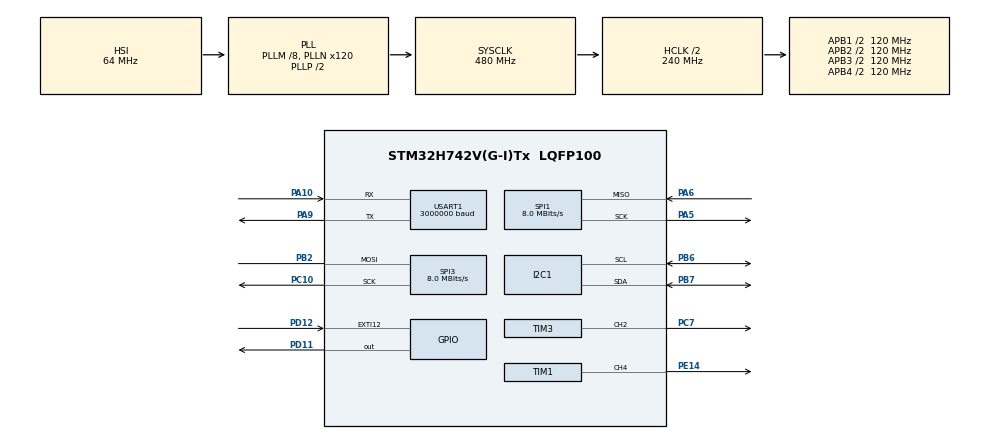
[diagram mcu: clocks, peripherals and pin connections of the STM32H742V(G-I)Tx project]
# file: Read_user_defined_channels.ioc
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CORTEX_M7.default_mode_Activation=1
Dma.I2C1_RX.3.Direction=DMA_PERIPH_TO_MEMORY
Dma.I2C1_RX.3.EventEnable=DISABLE
Dma.I2C1_RX.3.FIFOMode=DMA_FIFOMODE_DISABLE
Dma.I2C1_RX.3.Instance=DMA1_Stream3
Dma.I2C1_RX.3.MemDataAlignment=DMA_MDATAALIGN_BYTE
Dma.I2C1_RX.3.MemInc=DMA_MINC_ENABLE
Dma.I2C1_RX.3.Mode=DMA_NORMAL
Dma.I2C1_RX.3.PeriphDataAlignment=DMA_PDATAALIGN_BYTE
Dma.I2C1_RX.3.PeriphInc=DMA_PINC_DISABLE
Dma.I2C1_RX.3.Polarity=HAL_DMAMUX_REQ_GEN_RISING
Dma.I2C1_RX.3.Priority=DMA_PRIORITY_LOW
Dma.I2C1_RX.3.RequestNumber=1
Dma.I2C1_RX.3.SignalID=NONE
Dma.I2C1_RX.3.SyncEnable=DISABLE
Dma.I2C1_RX.3.SyncPolarity=HAL_DMAMUX_SYNC_NO_EVENT
Dma.I2C1_RX.3.SyncRequestNumber=1
Dma.I2C1_RX.3.SyncSignalID=NONE
Dma.Request0=SPI1_RX
Dma.Request1=USART1_TX
Dma.Request2=USART1_RX
Dma.Request3=I2C1_RX
Dma.SPI1_RX.0.Direction=DMA_PERIPH_TO_MEMORY
Dma.SPI1_RX.0.EventEnable=DISABLE
Dma.SPI1_RX.0.FIFOMode=DMA_FIFOMODE_DISABLE
Dma.SPI1_RX.0.Instance=DMA1_Stream0
Dma.SPI1_RX.0.MemDataAlignment=DMA_MDATAALIGN_HALFWORD
Dma.SPI1_RX.0.MemInc=DMA_MINC_ENABLE
Dma.SPI1_RX.0.Mode=DMA_NORMAL
Dma.SPI1_RX.0.PeriphDataAlignment=DMA_PDATAALIGN_HALFWORD
Dma.SPI1_RX.0.PeriphInc=DMA_PINC_DISABLE
Dma.SPI1_RX.0.Polarity=HAL_DMAMUX_REQ_GEN_RISING
Dma.SPI1_RX.0.Priority=DMA_PRIORITY_HIGH
Dma.SPI1_RX.0.RequestNumber=1
Dma.SPI1_RX.0.SignalID=NONE
Dma.SPI1_RX.0.SyncEnable=DISABLE
Dma.SPI1_RX.0.SyncPolarity=HAL_DMAMUX_SYNC_NO_EVENT
Dma.SPI1_RX.0.SyncRequestNumber=1
Dma.SPI1_RX.0.SyncSignalID=NONE
Dma.USART1_RX.2.Direction=DMA_PERIPH_TO_MEMORY
Dma.USART1_RX.2.EventEnable=DISABLE
Dma.USART1_RX.2.FIFOMode=DMA_FIFOMODE_DISABLE
Dma.USART1_RX.2.Instance=DMA1_Stream2
Dma.USART1_RX.2.MemDataAlignment=DMA_MDATAALIGN_BYTE
Dma.USART1_RX.2.MemInc=DMA_MINC_ENABLE
Dma.USART1_RX.2.Mode=DMA_CIRCULAR
Dma.USART1_RX.2.PeriphDataAlignment=DMA_PDATAALIGN_BYTE
Dma.USART1_RX.2.PeriphInc=DMA_PINC_DISABLE
Dma.USART1_RX.2.Polarity=HAL_DMAMUX_REQ_GEN_RISING
Dma.USART1_RX.2.Priority=DMA_PRIORITY_LOW
Dma.USART1_RX.2.RequestNumber=1
Dma.USART1_RX.2.SignalID=NONE
Dma.USART1_RX.2.SyncEnable=DISABLE
Dma.USART1_RX.2.SyncPolarity=HAL_DMAMUX_SYNC_NO_EVENT
Dma.USART1_RX.2.SyncRequestNumber=1
Dma.USART1_RX.2.SyncSignalID=NONE
Dma.USART1_TX.1.Direction=DMA_MEMORY_TO_PERIPH
Dma.USART1_TX.1.EventEnable=DISABLE
Dma.USART1_TX.1.FIFOMode=DMA_FIFOMODE_DISABLE
Dma.USART1_TX.1.Instance=DMA1_Stream1
Dma.USART1_TX.1.MemDataAlignment=DMA_MDATAALIGN_BYTE
Dma.USART1_TX.1.MemInc=DMA_MINC_ENABLE
Dma.USART1_TX.1.Mode=DMA_NORMAL
Dma.USART1_TX.1.PeriphDataAlignment=DMA_PDATAALIGN_BYTE
Dma.USART1_TX.1.PeriphInc=DMA_PINC_DISABLE
Dma.USART1_TX.1.Polarity=HAL_DMAMUX_REQ_GEN_RISING
Dma.USART1_TX.1.Priority=DMA_PRIORITY_LOW
Dma.USART1_TX.1.RequestNumber=1
Dma.USART1_TX.1.SignalID=NONE
Dma.USART1_TX.1.SyncEnable=DISABLE
Dma.USART1_TX.1.SyncPolarity=HAL_DMAMUX_SYNC_NO_EVENT
Dma.USART1_TX.1.SyncRequestNumber=1
Dma.USART1_TX.1.SyncSignalID=NONE
I2C1.Timing=0x307075B1
Mcu.Family=STM32H7
Mcu.Name=STM32H742V(G-I)Tx
Mcu.Package=LQFP100
NVIC.DMA1_Stream0_IRQn=true\:0\:0\:false\:false\:true\:false\:true\:true
NVIC.DMA1_Stream1_IRQn=true\:0\:0\:false\:false\:true\:false\:true\:true
NVIC.DMA1_Stream2_IRQn=true\:0\:0\:false\:false\:true\:false\:true\:true
NVIC.DMA1_Stream3_IRQn=true\:0\:0\:false\:false\:true\:false\:true\:true
NVIC.EXTI15_10_IRQn=true\:0\:0\:false\:false\:true\:true\:true\:true
NVIC.I2C1_ER_IRQn=true\:0\:0\:false\:false\:true\:true\:true\:true
NVIC.I2C1_EV_IRQn=true\:0\:0\:false\:false\:true\:true\:true\:true
NVIC.PriorityGroup=NVIC_PRIORITYGROUP_4
NVIC.SPI1_IRQn=true\:0\:0\:false\:false\:true\:false\:true\:true
NVIC.TIM2_IRQn=true\:0\:0\:false\:false\:true\:true\:true\:true
NVIC.TIM6_DAC_IRQn=true\:0\:0\:false\:false\:true\:true\:true\:true
NVIC.USART1_IRQn=true\:0\:0\:false\:false\:true\:true\:true\:true
PA10.Mode=Asynchronous
PA10.Signal=USART1_RX
PA5.GPIO_Speed=GPIO_SPEED_FREQ_VERY_HIGH
PA5.Mode=RX_Only_Simplex_Unidirect_Master
PA5.Signal=SPI1_SCK
PA6.GPIO_Speed=GPIO_SPEED_FREQ_VERY_HIGH
PA6.Mode=RX_Only_Simplex_Unidirect_Master
PA6.Signal=SPI1_MISO
PA9.Mode=Asynchronous
PA9.Signal=USART1_TX
PB2.GPIO_Speed=GPIO_SPEED_FREQ_VERY_HIGH
PB2.Mode=Simplex_Bidirectional_Master
PB2.Signal=SPI3_MOSI
PB6.GPIO_Pu=GPIO_PULLUP
PB6.GPIO_Speed=GPIO_SPEED_FREQ_HIGH
PB6.Mode=I2C
PB6.Signal=I2C1_SCL
PB7.GPIO_Pu=GPIO_PULLUP
PB7.GPIO_Speed=GPIO_SPEED_FREQ_HIGH
PB7.Mode=I2C
PB7.Signal=I2C1_SDA
PC10.Mode=Simplex_Bidirectional_Master
PC10.Signal=SPI3_SCK
PC7.Signal=S_TIM3_CH2
PD11.PinState=GPIO_PIN_SET
PD11.Signal=GPIO_Output
PD12.GPIO_ModeDefaultEXTI=GPIO_MODE_IT_FALLING
PD12.GPIO_PuPd=GPIO_PULLUP
PD12.Signal=GPXTI12
PE14.Signal=S_TIM1_CH4
ProjectManager.HeapSize=0x200
ProjectManager.StackSize=0x400
ProjectManager.TargetToolchain=STM32CubeIDE
RCC.ADCFreq_Value=32000000
RCC.APB1Freq_Value=120000000
RCC.APB2Freq_Value=120000000
RCC.APB3Freq_Value=120000000
RCC.APB4Freq_Value=120000000
RCC.CortexFreq_Value=480000000
RCC.D1PPRE=RCC_APB3_DIV2
RCC.D2PPRE1=RCC_APB1_DIV2
RCC.D2PPRE2=RCC_APB2_DIV2
RCC.D3PPRE=RCC_APB4_DIV2
RCC.DIVM1=8
RCC.DIVM2=8
RCC.DIVN1=120
RCC.DIVN2=64
RCC.DIVP2=16
RCC.HCLKFreq_Value=240000000
RCC.HPRE=RCC_HCLK_DIV2
RCC.PLLFRACN=0
RCC.SPI123CLockSelection=RCC_SPI123CLKSOURCE_PLL2
RCC.SYSCLKFreq_VALUE=480000000
RCC.SYSCLKSource=RCC_SYSCLKSOURCE_PLLCLK
RCC.USBFreq_Value=480000000
SH.S_TIM1_CH4.0=TIM1_CH4,PWM Generation4 CH4
SH.S_TIM3_CH2.0=TIM3_CH2,PWM Generation2 CH2
SPI1.BaudRatePrescaler=SPI_BAUDRATEPRESCALER_4
SPI1.CLKPolarity=SPI_POLARITY_LOW
SPI1.CalculateBaudRate=8.0 MBits/s
SPI1.DataSize=SPI_DATASIZE_16BIT
SPI1.Direction=SPI_DIRECTION_2LINES_RXONLY
SPI1.Mode=SPI_MODE_MASTER
SPI1.VirtualType=VM_MASTER
SPI3.BaudRatePrescaler=SPI_BAUDRATEPRESCALER_4
SPI3.CLKPhase=SPI_PHASE_2EDGE
SPI3.CalculateBaudRate=8.0 MBits/s
SPI3.DataSize=SPI_DATASIZE_12BIT
SPI3.Direction=SPI_DIRECTION_1LINE
SPI3.Mode=SPI_MODE_MASTER
SPI3.VirtualType=VM_MASTER
TIM1.Channel-PWM\ Generation4\ CH4=TIM_CHANNEL_4
TIM1.Period=11
TIM1.Pulse-PWM\ Generation4\ CH4=6
TIM1.TIM_MasterOutputTrigger=TIM_TRGO_UPDATE
TIM1.TIM_MasterSlaveMode=TIM_MASTERSLAVEMODE_ENABLE
TIM2.Period=9
TIM2.Prescaler=23
TIM3.Channel-PWM\ Generation2\ CH2=TIM_CHANNEL_2
TIM3.Period=999
TIM3.Prescaler=19
TIM3.Pulse-PWM\ Generation2\ CH2=500
TIM3.TIM_MasterSlaveMode=TIM_MASTERSLAVEMODE_DISABLE
TIM5.Prescaler=239
TIM6.Period=1999
TIM6.Prescaler=239
USART1.BaudRate=3000000
USART1.VirtualMode-Asynchronous=VM_ASYNC
VP_MEMORYMAP_VS_MEMORYMAP.Mode=CurAppReg
VP_TIM1_VS_ClockSourceINT.Mode=Internal
VP_TIM2_VS_ClockSourceINT.Mode=Internal
VP_TIM3_VS_ClockSourceINT.Mode=Internal
VP_TIM3_VS_ClockSourceITR.Mode=TriggerSource_ITR0
VP_TIM3_VS_ControllerModeGated.Mode=Gated Mode
VP_TIM5_VS_ClockSourceINT.Mode=Internal
VP_TIM6_VS_ClockSourceINT.Mode=Enable_Timer
board=custom

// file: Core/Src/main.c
/* USER CODE BEGIN Header */
/**
  ******************************************************************************
  * @file           : main.c
  * @brief          : Main program body
  ******************************************************************************
  * @attention
  *
  * Copyright (c) 2025 STMicroelectronics.
  * All rights reserved.
  *
  * This software is licensed under terms that can be found in the LICENSE file
  * in the root directory of this software component.
  * If no LICENSE file comes with this software, it is provided AS-IS.
  *
  ******************************************************************************
  */
/* USER CODE END Header */
#include "main.h"

/* USER CODE BEGIN Includes */
#include <string.h>
#include <stdio.h>
/* USER CODE END Includes */

/* USER CODE BEGIN PTD */
/* Acquisition and packet sizing. The board reads up to 64 16-bit channels
 * from the external converter chain and can stream either all channels or a
 * command-selected subset over UART.
 */
#define NUM_CHANNELS 64
#define NUM_OF_DATA 32
#define HALF_NUM_OF_DATA 16
#define DIM_TEST_PACKET 8
#define MAX_SELECTED_CHANNELS NUM_CHANNELS

#define PACKET_SIZE 64
#define OFFSET 0
#define IMU_NUM_CHANNELS 6
#define MPU6050_I2C_ADDR (0x68 << 1)
#define MPU6050_REG_PWR_MGMT_1 0x6B
#define MPU6050_REG_ACCEL_XOUT_H 0x3B
#define MPU6050_RAW_FRAME_SIZE 14
typedef struct __attribute__((packed)) {
    uint8_t  header[3];      // Synchronization bytes: 0x3C, 0x3E, 0x00.
    uint8_t n_channels;      // Number of valid samples stored in ch[].
    uint32_t timestamp_us;   // Free-running timestamp from TIM5.
    int16_t  ch[PACKET_SIZE]; // Selected channel samples sent over UART.
} SamplePacket;

typedef struct __attribute__((packed)) {
    uint8_t header[3];       // Synchronization bytes: 0xAA, 0xBB, 0x00.
    uint32_t timestamp_us;   // Free-running timestamp from TIM5.
    int16_t ch[IMU_NUM_CHANNELS]; // ax, ay, az, gx, gy, gz.
} ImuPacket;

/* USER CODE END PTD */

I2C_HandleTypeDef hi2c1;
DMA_HandleTypeDef hdma_i2c1_rx;

SPI_HandleTypeDef hspi1;
SPI_HandleTypeDef hspi3;
DMA_HandleTypeDef hdma_spi1_rx;

TIM_HandleTypeDef htim1;
TIM_HandleTypeDef htim2;
TIM_HandleTypeDef htim3;
TIM_HandleTypeDef htim5;
TIM_HandleTypeDef htim6;

UART_HandleTypeDef huart1;
DMA_HandleTypeDef hdma_usart1_tx;
DMA_HandleTypeDef hdma_usart1_rx;

/* USER CODE BEGIN PV */
// --- System state flags ---
volatile uint8_t delay_counter = 0;		// Used during the TIM2 startup sequence (test/init logic)
volatile uint8_t acq_enabled   = 0;      // Acquisition enable/disable flag (controlled via UART commands)
volatile uint8_t uart_tx_done  = 1;      // UART DMA transmission ready flag
volatile uint16_t old_pos = 0;           // Last processed index inside the circular UART RX DMA buffer
volatile uint8_t imu_enabled = 0;        // Set after the MPU6050 has been initialized successfully
volatile uint8_t imu_i2c_busy = 0;       // Prevents overlapping MPU6050 I2C DMA reads

// --- SPI Data Buffers ---
volatile uint16_t rx_spi_buffer[NUM_OF_DATA];   // Buffer used only for the initial test pattern sequence
volatile uint16_t spi_rx_buffer[NUM_CHANNELS];  // Main SPI data buffer (64 channels), filled by DMA

// --- Test pattern verification buffers ---
uint8_t test_packet_1[DIM_TEST_PACKET];         // Extracted bytes from the first half of rx_spi_buffer
uint8_t test_packet_2[DIM_TEST_PACKET];         // Extracted bytes from the second half of rx_spi_buffer

// Reference test packet used to validate ADC test mode output
static const uint8_t ref_packet[DIM_TEST_PACKET] =
    {0x30,0x00,0x66,0xF0,0x24,0x01,0xF6,0x80};

// --- DDC232 Configuration Command ---
static const uint16_t value = 0xEC0;    // 12-bit configuration command sent via SPI3

// --- UART Transmission Packet ---
static SamplePacket pkt;                // DMA-safe data packet (static to avoid stack corruption)
static ImuPacket imu_pkt;               // DMA-safe MPU6050 UART packet

// --- UART Receive Buffers ---
#define CMD_BUFFER_SIZE 128
uint8_t uart_rx_dma_buffer[CMD_BUFFER_SIZE];
char command_buffer[CMD_BUFFER_SIZE];

// --- MPU6050 Data Buffer ---
uint8_t imu_rx_buffer[MPU6050_RAW_FRAME_SIZE]; // ax, ay, az, temp, gx, gy, gz raw register bytes

uint8_t channel_mask[NUM_CHANNELS];   // 1 = channel enabled for streaming, 0 = skip channel
uint8_t num_active_channels = 0;      // Number of channels enabled in channel_mask[]
/* USER CODE END PV */

void SystemClock_Config(void);
void PeriphCommonClock_Config(void);
static void MPU_Config(void);
static void MX_GPIO_Init(void);
static void MX_DMA_Init(void);
static void MX_TIM2_Init(void);
static void MX_USART1_UART_Init(void);
static void MX_SPI3_Init(void);
static void MX_SPI1_Init(void);
static void MX_TIM1_Init(void);
static void MX_TIM3_Init(void);
static void MX_TIM5_Init(void);
static void MX_I2C1_Init(void);
static void MX_TIM6_Init(void);
/* USER CODE BEGIN PFP */
static void enable_all_channels(void);
static HAL_StatusTypeDef mpu6050_init(void);
static void imu_start_read_dma(void);
static int16_t imu_i16_from_be(uint8_t msb, uint8_t lsb);
void parse_start_command(char *cmd);
/* USER CODE END PFP */

int main(void)
{

  /* MPU Configuration--------------------------------------------------------*/
  MPU_Config();

  /* MCU Configuration--------------------------------------------------------*/

  /* Reset of all peripherals, Initializes the Flash interface and the Systick. */
  HAL_Init();

  /* Configure the system clock */
  SystemClock_Config();

  /* Configure the peripherals common clocks */
  PeriphCommonClock_Config();

  /* Initialize all configured peripherals */
  MX_GPIO_Init();
  MX_DMA_Init();
  MX_TIM2_Init();
  MX_USART1_UART_Init();
  MX_SPI3_Init();
  MX_SPI1_Init();
  MX_TIM1_Init();
  MX_TIM3_Init();
  MX_TIM5_Init();
  MX_I2C1_Init();
  MX_TIM6_Init();
  /* USER CODE BEGIN 2 */
  /*
   * USART1 RX DMA is circular (configured in HAL_UART_MspInit()). The USART1
   * IDLE interrupt is used to detect the end of variable-length text commands.
   */
  HAL_UART_Receive_DMA(&huart1, uart_rx_dma_buffer, CMD_BUFFER_SIZE);
  __HAL_UART_ENABLE_IT(&huart1, UART_IT_IDLE);

  /*
   * TIM1 CH4 provides the continuous external clock signal. TIM5 is a
   * free-running timestamp counter used when packing acquired samples.
   */
  HAL_TIM_PWM_Start(&htim1, TIM_CHANNEL_4);
  HAL_TIM_Base_Start(&htim5);

  /*
   * Wake the MPU6050 and start TIM6 only if the IMU is present. TIM6 then
   * triggers a non-blocking I2C DMA read every 2 ms.
   */
  if (mpu6050_init() == HAL_OK)
  {
      imu_enabled = 1;
      HAL_TIM_Base_Start_IT(&htim6);
  }
  /* USER CODE END 2 */

  /* Infinite loop */
  while (1)
  {

  }
}

void SystemClock_Config(void)
{
  RCC_OscInitTypeDef RCC_OscInitStruct = {0};
  RCC_ClkInitTypeDef RCC_ClkInitStruct = {0};

  /** Supply configuration update enable
  */
  HAL_PWREx_ConfigSupply(PWR_LDO_SUPPLY);

  /** Configure the main internal regulator output voltage
  */
  __HAL_PWR_VOLTAGESCALING_CONFIG(PWR_REGULATOR_VOLTAGE_SCALE0);

  while(!__HAL_PWR_GET_FLAG(PWR_FLAG_VOSRDY)) {}

  /** Initializes the RCC Oscillators according to the specified parameters
  * in the RCC_OscInitTypeDef structure.
  */
  RCC_OscInitStruct.OscillatorType = RCC_OSCILLATORTYPE_HSI;
  RCC_OscInitStruct.HSIState = RCC_HSI_DIV1;
  RCC_OscInitStruct.HSICalibrationValue = RCC_HSICALIBRATION_DEFAULT;
  RCC_OscInitStruct.PLL.PLLState = RCC_PLL_ON;
  RCC_OscInitStruct.PLL.PLLSource = RCC_PLLSOURCE_HSI;
  RCC_OscInitStruct.PLL.PLLM = 8;
  RCC_OscInitStruct.PLL.PLLN = 120;
  RCC_OscInitStruct.PLL.PLLP = 2;
  RCC_OscInitStruct.PLL.PLLQ = 2;
  RCC_OscInitStruct.PLL.PLLR = 2;
  RCC_OscInitStruct.PLL.PLLRGE = RCC_PLL1VCIRANGE_3;
  RCC_OscInitStruct.PLL.PLLVCOSEL = RCC_PLL1VCOWIDE;
  RCC_OscInitStruct.PLL.PLLFRACN = 0;
  if (HAL_RCC_OscConfig(&RCC_OscInitStruct) != HAL_OK)
  {
    Error_Handler();
  }

  /** Initializes the CPU, AHB and APB buses clocks
  */
  RCC_ClkInitStruct.ClockType = RCC_CLOCKTYPE_HCLK|RCC_CLOCKTYPE_SYSCLK
                              |RCC_CLOCKTYPE_PCLK1|RCC_CLOCKTYPE_PCLK2
                              |RCC_CLOCKTYPE_D3PCLK1|RCC_CLOCKTYPE_D1PCLK1;
  RCC_ClkInitStruct.SYSCLKSource = RCC_SYSCLKSOURCE_PLLCLK;
  RCC_ClkInitStruct.SYSCLKDivider = RCC_SYSCLK_DIV1;
  RCC_ClkInitStruct.AHBCLKDivider = RCC_HCLK_DIV2;
  RCC_ClkInitStruct.APB3CLKDivider = RCC_APB3_DIV2;
  RCC_ClkInitStruct.APB1CLKDivider = RCC_APB1_DIV2;
  RCC_ClkInitStruct.APB2CLKDivider = RCC_APB2_DIV2;
  RCC_ClkInitStruct.APB4CLKDivider = RCC_APB4_DIV2;

  if (HAL_RCC_ClockConfig(&RCC_ClkInitStruct, FLASH_LATENCY_4) != HAL_OK)
  {
    Error_Handler();
  }
}

void PeriphCommonClock_Config(void)
{
  RCC_PeriphCLKInitTypeDef PeriphClkInitStruct = {0};

  /** Initializes the peripherals clock
  */
  PeriphClkInitStruct.PeriphClockSelection = RCC_PERIPHCLK_SPI3|RCC_PERIPHCLK_SPI1;
  PeriphClkInitStruct.PLL2.PLL2M = 8;
  PeriphClkInitStruct.PLL2.PLL2N = 64;
  PeriphClkInitStruct.PLL2.PLL2P = 16;
  PeriphClkInitStruct.PLL2.PLL2Q = 2;
  PeriphClkInitStruct.PLL2.PLL2R = 2;
  PeriphClkInitStruct.PLL2.PLL2RGE = RCC_PLL2VCIRANGE_3;
  PeriphClkInitStruct.PLL2.PLL2VCOSEL = RCC_PLL2VCOWIDE;
  PeriphClkInitStruct.PLL2.PLL2FRACN = 0;
  PeriphClkInitStruct.Spi123ClockSelection = RCC_SPI123CLKSOURCE_PLL2;
  if (HAL_RCCEx_PeriphCLKConfig(&PeriphClkInitStruct) != HAL_OK)
  {
    Error_Handler();
  }
}

static void MX_I2C1_Init(void)
{

  hi2c1.Instance = I2C1;
  hi2c1.Init.Timing = 0x307075B1;
  hi2c1.Init.OwnAddress1 = 0;
  hi2c1.Init.AddressingMode = I2C_ADDRESSINGMODE_7BIT;
  hi2c1.Init.DualAddressMode = I2C_DUALADDRESS_DISABLE;
  hi2c1.Init.OwnAddress2 = 0;
  hi2c1.Init.OwnAddress2Masks = I2C_OA2_NOMASK;
  hi2c1.Init.GeneralCallMode = I2C_GENERALCALL_DISABLE;
  hi2c1.Init.NoStretchMode = I2C_NOSTRETCH_DISABLE;
  if (HAL_I2C_Init(&hi2c1) != HAL_OK)
  {
    Error_Handler();
  }

  /** Configure Analogue filter
  */
  if (HAL_I2CEx_ConfigAnalogFilter(&hi2c1, I2C_ANALOGFILTER_ENABLE) != HAL_OK)
  {
    Error_Handler();
  }

  /** Configure Digital filter
  */
  if (HAL_I2CEx_ConfigDigitalFilter(&hi2c1, 0) != HAL_OK)
  {
    Error_Handler();
  }

}

static void MX_SPI1_Init(void)
{

  /* SPI1 parameter configuration*/
  hspi1.Instance = SPI1;
  hspi1.Init.Mode = SPI_MODE_MASTER;
  hspi1.Init.Direction = SPI_DIRECTION_2LINES_RXONLY;
  hspi1.Init.DataSize = SPI_DATASIZE_16BIT;
  hspi1.Init.CLKPolarity = SPI_POLARITY_LOW;
  hspi1.Init.CLKPhase = SPI_PHASE_1EDGE;
  hspi1.Init.NSS = SPI_NSS_SOFT;
  hspi1.Init.BaudRatePrescaler = SPI_BAUDRATEPRESCALER_4;
  hspi1.Init.FirstBit = SPI_FIRSTBIT_MSB;
  hspi1.Init.TIMode = SPI_TIMODE_DISABLE;
  hspi1.Init.CRCCalculation = SPI_CRCCALCULATION_DISABLE;
  hspi1.Init.CRCPolynomial = 0x0;
  hspi1.Init.NSSPMode = SPI_NSS_PULSE_ENABLE;
  hspi1.Init.NSSPolarity = SPI_NSS_POLARITY_LOW;
  hspi1.Init.FifoThreshold = SPI_FIFO_THRESHOLD_01DATA;
  hspi1.Init.TxCRCInitializationPattern = SPI_CRC_INITIALIZATION_ALL_ZERO_PATTERN;
  hspi1.Init.RxCRCInitializationPattern = SPI_CRC_INITIALIZATION_ALL_ZERO_PATTERN;
  hspi1.Init.MasterSSIdleness = SPI_MASTER_SS_IDLENESS_00CYCLE;
  hspi1.Init.MasterInterDataIdleness = SPI_MASTER_INTERDATA_IDLENESS_00CYCLE;
  hspi1.Init.MasterReceiverAutoSusp = SPI_MASTER_RX_AUTOSUSP_DISABLE;
  hspi1.Init.MasterKeepIOState = SPI_MASTER_KEEP_IO_STATE_DISABLE;
  hspi1.Init.IOSwap = SPI_IO_SWAP_DISABLE;
  if (HAL_SPI_Init(&hspi1) != HAL_OK)
  {
    Error_Handler();
  }

}

static void MX_SPI3_Init(void)
{

  /* SPI3 parameter configuration*/
  hspi3.Instance = SPI3;
  hspi3.Init.Mode = SPI_MODE_MASTER;
  hspi3.Init.Direction = SPI_DIRECTION_1LINE;
  hspi3.Init.DataSize = SPI_DATASIZE_12BIT;
  hspi3.Init.CLKPolarity = SPI_POLARITY_LOW;
  hspi3.Init.CLKPhase = SPI_PHASE_2EDGE;
  hspi3.Init.NSS = SPI_NSS_SOFT;
  hspi3.Init.BaudRatePrescaler = SPI_BAUDRATEPRESCALER_4;
  hspi3.Init.FirstBit = SPI_FIRSTBIT_MSB;
  hspi3.Init.TIMode = SPI_TIMODE_DISABLE;
  hspi3.Init.CRCCalculation = SPI_CRCCALCULATION_DISABLE;
  hspi3.Init.CRCPolynomial = 0x0;
  hspi3.Init.NSSPMode = SPI_NSS_PULSE_ENABLE;
  hspi3.Init.NSSPolarity = SPI_NSS_POLARITY_LOW;
  hspi3.Init.FifoThreshold = SPI_FIFO_THRESHOLD_01DATA;
  hspi3.Init.TxCRCInitializationPattern = SPI_CRC_INITIALIZATION_ALL_ZERO_PATTERN;
  hspi3.Init.RxCRCInitializationPattern = SPI_CRC_INITIALIZATION_ALL_ZERO_PATTERN;
  hspi3.Init.MasterSSIdleness = SPI_MASTER_SS_IDLENESS_00CYCLE;
  hspi3.Init.MasterInterDataIdleness = SPI_MASTER_INTERDATA_IDLENESS_00CYCLE;
  hspi3.Init.MasterReceiverAutoSusp = SPI_MASTER_RX_AUTOSUSP_DISABLE;
  hspi3.Init.MasterKeepIOState = SPI_MASTER_KEEP_IO_STATE_DISABLE;
  hspi3.Init.IOSwap = SPI_IO_SWAP_DISABLE;
  if (HAL_SPI_Init(&hspi3) != HAL_OK)
  {
    Error_Handler();
  }

}

static void MX_TIM1_Init(void)
{

  TIM_ClockConfigTypeDef sClockSourceConfig = {0};
  TIM_MasterConfigTypeDef sMasterConfig = {0};
  TIM_OC_InitTypeDef sConfigOC = {0};
  TIM_BreakDeadTimeConfigTypeDef sBreakDeadTimeConfig = {0};

  htim1.Instance = TIM1;
  htim1.Init.Prescaler = 0;
  htim1.Init.CounterMode = TIM_COUNTERMODE_UP;
  htim1.Init.Period = 11;
  htim1.Init.ClockDivision = TIM_CLOCKDIVISION_DIV1;
  htim1.Init.RepetitionCounter = 0;
  htim1.Init.AutoReloadPreload = TIM_AUTORELOAD_PRELOAD_DISABLE;
  if (HAL_TIM_Base_Init(&htim1) != HAL_OK)
  {
    Error_Handler();
  }
  sClockSourceConfig.ClockSource = TIM_CLOCKSOURCE_INTERNAL;
  if (HAL_TIM_ConfigClockSource(&htim1, &sClockSourceConfig) != HAL_OK)
  {
    Error_Handler();
  }
  if (HAL_TIM_PWM_Init(&htim1) != HAL_OK)
  {
    Error_Handler();
  }
  sMasterConfig.MasterOutputTrigger = TIM_TRGO_UPDATE;
  sMasterConfig.MasterOutputTrigger2 = TIM_TRGO2_RESET;
  sMasterConfig.MasterSlaveMode = TIM_MASTERSLAVEMODE_ENABLE;
  if (HAL_TIMEx_MasterConfigSynchronization(&htim1, &sMasterConfig) != HAL_OK)
  {
    Error_Handler();
  }
  sConfigOC.OCMode = TIM_OCMODE_PWM1;
  sConfigOC.Pulse = 6;
  sConfigOC.OCPolarity = TIM_OCPOLARITY_HIGH;
  sConfigOC.OCFastMode = TIM_OCFAST_DISABLE;
  sConfigOC.OCIdleState = TIM_OCIDLESTATE_RESET;
  sConfigOC.OCNIdleState = TIM_OCNIDLESTATE_RESET;
  if (HAL_TIM_PWM_ConfigChannel(&htim1, &sConfigOC, TIM_CHANNEL_4) != HAL_OK)
  {
    Error_Handler();
  }
  sBreakDeadTimeConfig.OffStateRunMode = TIM_OSSR_DISABLE;
  sBreakDeadTimeConfig.OffStateIDLEMode = TIM_OSSI_DISABLE;
  sBreakDeadTimeConfig.LockLevel = TIM_LOCKLEVEL_OFF;
  sBreakDeadTimeConfig.DeadTime = 0;
  sBreakDeadTimeConfig.BreakState = TIM_BREAK_DISABLE;
  sBreakDeadTimeConfig.BreakPolarity = TIM_BREAKPOLARITY_HIGH;
  sBreakDeadTimeConfig.BreakFilter = 0;
  sBreakDeadTimeConfig.Break2State = TIM_BREAK2_DISABLE;
  sBreakDeadTimeConfig.Break2Polarity = TIM_BREAK2POLARITY_HIGH;
  sBreakDeadTimeConfig.Break2Filter = 0;
  sBreakDeadTimeConfig.AutomaticOutput = TIM_AUTOMATICOUTPUT_DISABLE;
  if (HAL_TIMEx_ConfigBreakDeadTime(&htim1, &sBreakDeadTimeConfig) != HAL_OK)
  {
    Error_Handler();
  }
  HAL_TIM_MspPostInit(&htim1);

}

static void MX_TIM2_Init(void)
{

  TIM_ClockConfigTypeDef sClockSourceConfig = {0};
  TIM_MasterConfigTypeDef sMasterConfig = {0};

  htim2.Instance = TIM2;
  htim2.Init.Prescaler = 23;
  htim2.Init.CounterMode = TIM_COUNTERMODE_UP;
  htim2.Init.Period = 9;
  htim2.Init.ClockDivision = TIM_CLOCKDIVISION_DIV1;
  htim2.Init.AutoReloadPreload = TIM_AUTORELOAD_PRELOAD_DISABLE;
  if (HAL_TIM_Base_Init(&htim2) != HAL_OK)
  {
    Error_Handler();
  }
  sClockSourceConfig.ClockSource = TIM_CLOCKSOURCE_INTERNAL;
  if (HAL_TIM_ConfigClockSource(&htim2, &sClockSourceConfig) != HAL_OK)
  {
    Error_Handler();
  }
  sMasterConfig.MasterOutputTrigger = TIM_TRGO_RESET;
  sMasterConfig.MasterSlaveMode = TIM_MASTERSLAVEMODE_DISABLE;
  if (HAL_TIMEx_MasterConfigSynchronization(&htim2, &sMasterConfig) != HAL_OK)
  {
    Error_Handler();
  }

}

static void MX_TIM3_Init(void)
{

  TIM_ClockConfigTypeDef sClockSourceConfig = {0};
  TIM_SlaveConfigTypeDef sSlaveConfig = {0};
  TIM_MasterConfigTypeDef sMasterConfig = {0};
  TIM_OC_InitTypeDef sConfigOC = {0};

  htim3.Instance = TIM3;
  htim3.Init.Prescaler = 19;
  htim3.Init.CounterMode = TIM_COUNTERMODE_UP;
  htim3.Init.Period = 999;
  htim3.Init.ClockDivision = TIM_CLOCKDIVISION_DIV1;
  htim3.Init.AutoReloadPreload = TIM_AUTORELOAD_PRELOAD_DISABLE;
  if (HAL_TIM_Base_Init(&htim3) != HAL_OK)
  {
    Error_Handler();
  }
  sClockSourceConfig.ClockSource = TIM_CLOCKSOURCE_INTERNAL;
  if (HAL_TIM_ConfigClockSource(&htim3, &sClockSourceConfig) != HAL_OK)
  {
    Error_Handler();
  }
  if (HAL_TIM_PWM_Init(&htim3) != HAL_OK)
  {
    Error_Handler();
  }
  sSlaveConfig.SlaveMode = TIM_SLAVEMODE_GATED;
  sSlaveConfig.InputTrigger = TIM_TS_ITR0;
  if (HAL_TIM_SlaveConfigSynchro(&htim3, &sSlaveConfig) != HAL_OK)
  {
    Error_Handler();
  }
  sMasterConfig.MasterOutputTrigger = TIM_TRGO_RESET;
  sMasterConfig.MasterSlaveMode = TIM_MASTERSLAVEMODE_DISABLE;
  if (HAL_TIMEx_MasterConfigSynchronization(&htim3, &sMasterConfig) != HAL_OK)
  {
    Error_Handler();
  }
  sConfigOC.OCMode = TIM_OCMODE_PWM1;
  sConfigOC.Pulse = 500;
  sConfigOC.OCPolarity = TIM_OCPOLARITY_HIGH;
  sConfigOC.OCFastMode = TIM_OCFAST_DISABLE;
  if (HAL_TIM_PWM_ConfigChannel(&htim3, &sConfigOC, TIM_CHANNEL_2) != HAL_OK)
  {
    Error_Handler();
  }
  HAL_TIM_MspPostInit(&htim3);

}

static void MX_TIM5_Init(void)
{

  TIM_ClockConfigTypeDef sClockSourceConfig = {0};
  TIM_MasterConfigTypeDef sMasterConfig = {0};

  htim5.Instance = TIM5;
  htim5.Init.Prescaler = 239;
  htim5.Init.CounterMode = TIM_COUNTERMODE_UP;
  htim5.Init.Period = 4294967295;
  htim5.Init.ClockDivision = TIM_CLOCKDIVISION_DIV1;
  htim5.Init.AutoReloadPreload = TIM_AUTORELOAD_PRELOAD_DISABLE;
  if (HAL_TIM_Base_Init(&htim5) != HAL_OK)
  {
    Error_Handler();
  }
  sClockSourceConfig.ClockSource = TIM_CLOCKSOURCE_INTERNAL;
  if (HAL_TIM_ConfigClockSource(&htim5, &sClockSourceConfig) != HAL_OK)
  {
    Error_Handler();
  }
  sMasterConfig.MasterOutputTrigger = TIM_TRGO_RESET;
  sMasterConfig.MasterSlaveMode = TIM_MASTERSLAVEMODE_DISABLE;
  if (HAL_TIMEx_MasterConfigSynchronization(&htim5, &sMasterConfig) != HAL_OK)
  {
    Error_Handler();
  }

}

static void MX_TIM6_Init(void)
{

  TIM_MasterConfigTypeDef sMasterConfig = {0};

  htim6.Instance = TIM6;
  htim6.Init.Prescaler = 239;
  htim6.Init.CounterMode = TIM_COUNTERMODE_UP;
  htim6.Init.Period = 1999;
  htim6.Init.AutoReloadPreload = TIM_AUTORELOAD_PRELOAD_DISABLE;
  if (HAL_TIM_Base_Init(&htim6) != HAL_OK)
  {
    Error_Handler();
  }
  sMasterConfig.MasterOutputTrigger = TIM_TRGO_RESET;
  sMasterConfig.MasterSlaveMode = TIM_MASTERSLAVEMODE_DISABLE;
  if (HAL_TIMEx_MasterConfigSynchronization(&htim6, &sMasterConfig) != HAL_OK)
  {
    Error_Handler();
  }

}

static void MX_USART1_UART_Init(void)
{

  huart1.Instance = USART1;
  huart1.Init.BaudRate = 3000000;
  huart1.Init.WordLength = UART_WORDLENGTH_8B;
  huart1.Init.StopBits = UART_STOPBITS_1;
  huart1.Init.Parity = UART_PARITY_NONE;
  huart1.Init.Mode = UART_MODE_TX_RX;
  huart1.Init.HwFlowCtl = UART_HWCONTROL_NONE;
  huart1.Init.OverSampling = UART_OVERSAMPLING_16;
  huart1.Init.OneBitSampling = UART_ONE_BIT_SAMPLE_DISABLE;
  huart1.Init.ClockPrescaler = UART_PRESCALER_DIV1;
  huart1.AdvancedInit.AdvFeatureInit = UART_ADVFEATURE_NO_INIT;
  if (HAL_UART_Init(&huart1) != HAL_OK)
  {
    Error_Handler();
  }
  if (HAL_UARTEx_SetTxFifoThreshold(&huart1, UART_TXFIFO_THRESHOLD_1_8) != HAL_OK)
  {
    Error_Handler();
  }
  if (HAL_UARTEx_SetRxFifoThreshold(&huart1, UART_RXFIFO_THRESHOLD_1_8) != HAL_OK)
  {
    Error_Handler();
  }
  if (HAL_UARTEx_DisableFifoMode(&huart1) != HAL_OK)
  {
    Error_Handler();
  }

}

static void MX_DMA_Init(void)
{

  /* DMA controller clock enable */
  __HAL_RCC_DMA1_CLK_ENABLE();

  /* DMA interrupt init */
  /* DMA1_Stream0_IRQn interrupt configuration */
  HAL_NVIC_SetPriority(DMA1_Stream0_IRQn, 0, 0);
  HAL_NVIC_EnableIRQ(DMA1_Stream0_IRQn);
  /* DMA1_Stream1_IRQn interrupt configuration */
  HAL_NVIC_SetPriority(DMA1_Stream1_IRQn, 0, 0);
  HAL_NVIC_EnableIRQ(DMA1_Stream1_IRQn);
  /* DMA1_Stream2_IRQn interrupt configuration */
  HAL_NVIC_SetPriority(DMA1_Stream2_IRQn, 0, 0);
  HAL_NVIC_EnableIRQ(DMA1_Stream2_IRQn);
  /* DMA1_Stream3_IRQn interrupt configuration */
  HAL_NVIC_SetPriority(DMA1_Stream3_IRQn, 0, 0);
  HAL_NVIC_EnableIRQ(DMA1_Stream3_IRQn);

}

static void MX_GPIO_Init(void)
{
  GPIO_InitTypeDef GPIO_InitStruct = {0};

  /* GPIO Ports Clock Enable */
  __HAL_RCC_GPIOA_CLK_ENABLE();
  __HAL_RCC_GPIOB_CLK_ENABLE();
  __HAL_RCC_GPIOE_CLK_ENABLE();
  __HAL_RCC_GPIOD_CLK_ENABLE();
  __HAL_RCC_GPIOC_CLK_ENABLE();

  /*Configure GPIO pin Output Level */
  HAL_GPIO_WritePin(GPIOD, GPIO_PIN_11, GPIO_PIN_SET);

  /*Configure GPIO pin : PD11 */
  GPIO_InitStruct.Pin = GPIO_PIN_11;
  GPIO_InitStruct.Mode = GPIO_MODE_OUTPUT_PP;
  GPIO_InitStruct.Pull = GPIO_NOPULL;
  GPIO_InitStruct.Speed = GPIO_SPEED_FREQ_LOW;
  HAL_GPIO_Init(GPIOD, &GPIO_InitStruct);

  /*Configure GPIO pin : PD12 */
  GPIO_InitStruct.Pin = GPIO_PIN_12;
  GPIO_InitStruct.Mode = GPIO_MODE_IT_FALLING;
  GPIO_InitStruct.Pull = GPIO_PULLUP;
  HAL_GPIO_Init(GPIOD, &GPIO_InitStruct);

  /* EXTI interrupt init*/
  HAL_NVIC_SetPriority(EXTI15_10_IRQn, 0, 0);
  HAL_NVIC_EnableIRQ(EXTI15_10_IRQn);

  /* USER CODE BEGIN MX_GPIO_Init_2 */
  /* USART1 TX/RX pins. */
  GPIO_InitStruct.Pin = GPIO_PIN_9 | GPIO_PIN_10;
  GPIO_InitStruct.Mode = GPIO_MODE_AF_PP;
  GPIO_InitStruct.Pull = GPIO_NOPULL;
  GPIO_InitStruct.Speed = GPIO_SPEED_FREQ_VERY_HIGH;
  GPIO_InitStruct.Alternate = GPIO_AF7_USART1;
  HAL_GPIO_Init(GPIOA, &GPIO_InitStruct);

  /* Converter CONV pulse output on PC7, driven by TIM3 channel 2. */
  GPIO_InitStruct.Pin = GPIO_PIN_7;
  GPIO_InitStruct.Mode = GPIO_MODE_AF_PP;
  GPIO_InitStruct.Pull = GPIO_NOPULL;
  GPIO_InitStruct.Speed = GPIO_SPEED_FREQ_VERY_HIGH;
  GPIO_InitStruct.Alternate = GPIO_AF2_TIM3;
  HAL_GPIO_Init(GPIOC, &GPIO_InitStruct);

  /* Converter clock output on PE14, driven by TIM1 channel 4. */
  GPIO_InitStruct.Pin = GPIO_PIN_14;
  GPIO_InitStruct.Mode = GPIO_MODE_AF_PP;
  GPIO_InitStruct.Pull = GPIO_NOPULL;
  GPIO_InitStruct.Speed = GPIO_SPEED_FREQ_VERY_HIGH;
  GPIO_InitStruct.Alternate = GPIO_AF13_TIM1;
  HAL_GPIO_Init(GPIOE, &GPIO_InitStruct);

  /* USER CODE END MX_GPIO_Init_2 */
}

/* USER CODE BEGIN 4 */

/**
  * @brief Wake the MPU6050 so accelerometer and gyroscope registers update.
  * @retval HAL status from the I2C readiness/write sequence.
  */
static HAL_StatusTypeDef mpu6050_init(void)
{
    uint8_t pwr_mgmt_1 = 0x00;

    if (HAL_I2C_IsDeviceReady(&hi2c1, MPU6050_I2C_ADDR, 3, 100) != HAL_OK)
    {
        return HAL_ERROR;
    }

    return HAL_I2C_Mem_Write(&hi2c1,
                             MPU6050_I2C_ADDR,
                             MPU6050_REG_PWR_MGMT_1,
                             I2C_MEMADD_SIZE_8BIT,
                             &pwr_mgmt_1,
                             1,
                             100);
}

/**
  * @brief Start one non-blocking MPU6050 register burst read.
  *
  * The MPU6050 exposes ax, ay, az, temperature, gx, gy, gz as one contiguous
  * 14-byte block starting at ACCEL_XOUT_H (0x3B). The temperature bytes are
  * read because they sit between accel and gyro data, but they are not streamed.
  * @retval None
  */
static void imu_start_read_dma(void)
{
    if (!imu_enabled || imu_i2c_busy)
    {
        return;
    }

    if (HAL_I2C_GetState(&hi2c1) != HAL_I2C_STATE_READY)
    {
        return;
    }

    imu_i2c_busy = 1;
    if (HAL_I2C_Mem_Read_DMA(&hi2c1,
                             MPU6050_I2C_ADDR,
                             MPU6050_REG_ACCEL_XOUT_H,
                             I2C_MEMADD_SIZE_8BIT,
                             imu_rx_buffer,
                             MPU6050_RAW_FRAME_SIZE) != HAL_OK)
    {
        imu_i2c_busy = 0;
    }
}

/**
  * @brief Convert two MPU6050 big-endian register bytes to a signed sample.
  * @param msb Most significant byte read from the MPU6050.
  * @param lsb Least significant byte read from the MPU6050.
  * @retval Signed 16-bit sample.
  */
static int16_t imu_i16_from_be(uint8_t msb, uint8_t lsb)
{
    return (int16_t)(((uint16_t)msb << 8) | lsb);
}

/**
  * @brief Advance the TIM2-controlled startup and converter test sequence.
  * @param htim Timer handle passed by the HAL interrupt dispatcher.
  *
  * TIM2 is started by the USART "start" command. Each period elapsed interrupt
  * increments delay_counter and performs one staged action:
  * - counter 1: release/set PD11 after the command-side reset action.
  * - counter 3: send the 12-bit converter configuration word on SPI3.
  * - counter 6: read a blocking test frame on SPI1, validate it, then start
  *   TIM3 conversion pulses if the repeated test packet matches ref_packet.
  *
  * Once the test step is done, TIM2 stops itself; normal acquisition is then
  * driven by PD12 EXTI data-ready events and SPI1 DMA.
  * @retval None
  */
void HAL_TIM_PeriodElapsedCallback(TIM_HandleTypeDef *htim)
{
    if (htim->Instance == TIM6)
    {
        imu_start_read_dma();
        return;
    }

    if (htim->Instance != TIM2) return;

    switch(delay_counter)
    {
        case 1:
        {
            /* Release the external device from the reset/hold state requested by
             * USART1_IRQHandler() when the "start" command was received.
             */
            HAL_GPIO_WritePin(GPIOD, GPIO_PIN_11, GPIO_PIN_SET);
            break;
        }
        case 3:
        {
            /* Send the converter configuration/test-mode word. SPI3 uses a
             * 12-bit data size, so one transferred element carries value.
             */
            HAL_SPI_Transmit(&hspi3, (uint8_t*)&value, 1, HAL_MAX_DELAY);
            break;
        }
        case 6:
        {
            /* Read the converter test stream before enabling continuous
             * acquisition. This blocking read happens only during startup.
             */
            HAL_SPI_Receive(&hspi1, (uint8_t*)&rx_spi_buffer, NUM_OF_DATA, HAL_MAX_DELAY);
            uint8_t *raw = (uint8_t*)rx_spi_buffer;

            /* Compare the last 8 bytes of each half-frame: the expected test
             * pattern must be repeated in both halves of the SPI response.
             */
            for(int i=0; i<DIM_TEST_PACKET; i++)
            {
                test_packet_1[i] = raw[(HALF_NUM_OF_DATA*2 - DIM_TEST_PACKET) + i];
            }

            for(int i=0; i<DIM_TEST_PACKET; i++)
            {
                test_packet_2[i] = raw[(NUM_OF_DATA*2 - DIM_TEST_PACKET) + i];
            }

            uint8_t match = (memcmp(test_packet_1, test_packet_2, DIM_TEST_PACKET) == 0);
            uint8_t match_ref = (memcmp(test_packet_1, ref_packet, DIM_TEST_PACKET) == 0);

            if(match && match_ref)
            {
                /* Report a successful startup test and start generating CONV
                 * pulses. From this point, PD12 EXTI events trigger DMA reads.
                 */
                HAL_UART_Transmit(&huart1, (uint8_t*)"OK\r\n", 4, HAL_MAX_DELAY);
                HAL_TIM_PWM_Start(&htim3, TIM_CHANNEL_2);
            }

            /* TIM2 is needed only for the startup/test sequence. */
            HAL_TIM_Base_Stop_IT(&htim2);
            HAL_NVIC_DisableIRQ(TIM2_IRQn);
            break;
        }
        default: break;
    }
    delay_counter++;
}

/**
  * @brief Start a SPI1 DMA sample read when the data-ready EXTI line fires.
  * @param GPIO_Pin GPIO pin that generated the EXTI callback.
  *
  * PD12 is configured as a falling-edge interrupt. When acquisition is enabled
  * and SPI1 is idle, this callback starts a DMA receive of all 64 channels into
  * spi_rx_buffer[]. Packet creation is deferred to HAL_SPI_RxCpltCallback().
  * @retval None
  */
void HAL_GPIO_EXTI_Callback(uint16_t GPIO_Pin)
{
    if (GPIO_Pin == GPIO_PIN_12 && acq_enabled)
    {
        if (HAL_SPI_GetState(&hspi1) == HAL_SPI_STATE_READY)
        {
            HAL_SPI_Receive_DMA(&hspi1, (uint8_t*)spi_rx_buffer, NUM_CHANNELS);
        }
    }
}

/**
  * @brief Package a completed SPI1 DMA frame and transmit it over USART1 DMA.
  * @param hspi SPI handle that completed the transfer.
  *
  * The callback filters for SPI1, checks that acquisition is still enabled, and
  * avoids overwriting pkt while the previous UART DMA transfer is active. Only
  * channels selected by channel_mask[] are copied to pkt.ch[].
  * @retval None
  */
void HAL_SPI_RxCpltCallback(SPI_HandleTypeDef *hspi)
{
    if(hspi->Instance == SPI1 && uart_tx_done && acq_enabled)
    {

        // Packet header used by the host software to find frame boundaries.
        pkt.header[0] = 0x3C;
        pkt.header[1] = 0x3E;
        pkt.header[2] = 0x00;

        // Timestamp in microseconds from the free-running TIM5 counter.
        pkt.timestamp_us = __HAL_TIM_GET_COUNTER(&htim5);

        uint8_t idx = 0;
        for (int i = 0; i < NUM_CHANNELS; i++)
        {
            if (channel_mask[i])
            {
                /* Swap byte order before streaming because SPI receives
                 * 16-bit words in the opposite order expected by the host.
                 */
                pkt.ch[idx++] = __builtin_bswap16(spi_rx_buffer[i]);
            }
        }
        pkt.n_channels = idx;
        uart_tx_done = 0;
        HAL_UART_Transmit_DMA(&huart1, (uint8_t*)&pkt, sizeof(pkt.header) + sizeof(pkt.n_channels) + sizeof(pkt.timestamp_us)+idx * sizeof(int16_t));
    }
}

/**
  * @brief Build and transmit the IMU packet after an MPU6050 I2C DMA read.
  * @param hi2c I2C handle that completed the memory read.
  * @retval None
  */
void HAL_I2C_MemRxCpltCallback(I2C_HandleTypeDef *hi2c)
{
    if (hi2c->Instance != I2C1)
    {
        return;
    }

    imu_i2c_busy = 0;

    if (!imu_enabled || !uart_tx_done)
    {
        return;
    }

    imu_pkt.header[0] = 0xAA;
    imu_pkt.header[1] = 0xBB;
    imu_pkt.header[2] = 0x00;
    imu_pkt.timestamp_us = __HAL_TIM_GET_COUNTER(&htim5);

    imu_pkt.ch[0] = imu_i16_from_be(imu_rx_buffer[0],  imu_rx_buffer[1]);  // ax
    imu_pkt.ch[1] = imu_i16_from_be(imu_rx_buffer[2],  imu_rx_buffer[3]);  // ay
    imu_pkt.ch[2] = imu_i16_from_be(imu_rx_buffer[4],  imu_rx_buffer[5]);  // az
    imu_pkt.ch[3] = imu_i16_from_be(imu_rx_buffer[8],  imu_rx_buffer[9]);  // gx
    imu_pkt.ch[4] = imu_i16_from_be(imu_rx_buffer[10], imu_rx_buffer[11]); // gy
    imu_pkt.ch[5] = imu_i16_from_be(imu_rx_buffer[12], imu_rx_buffer[13]); // gz

    uart_tx_done = 0;
    if (HAL_UART_Transmit_DMA(&huart1, (uint8_t*)&imu_pkt, sizeof(imu_pkt)) != HAL_OK)
    {
        uart_tx_done = 1;
    }
}

/**
  * @brief Release the IMU I2C busy flag if the MPU6050 DMA transfer fails.
  * @param hi2c I2C handle that reported the error.
  * @retval None
  */
void HAL_I2C_ErrorCallback(I2C_HandleTypeDef *hi2c)
{
    if (hi2c->Instance == I2C1)
    {
        imu_i2c_busy = 0;
    }
}

/**
  * @brief Mark the USART1 DMA transmitter as available again.
  * @param huart UART handle that completed the transfer.
  * @retval None
  */
void HAL_UART_TxCpltCallback(UART_HandleTypeDef *huart)
{
    if(huart->Instance == USART1)
    {
        uart_tx_done = 1; // Ready for the next packet transmission.
    }
}

/**
  * @brief Parse the optional channel list in a "start" command.
  * @param cmd Null-terminated command string copied from the UART RX buffer.
  *
  * Accepted examples:
  * - "start" enables all channels.
  * - "start,1,4,8" enables individual 1-based channels.
  * - "start,1-8,16,32-40" enables ranges and individual channels.
  *
  * Values outside 1..NUM_CHANNELS are clamped for ranges or ignored for single
  * channels. Duplicate channels are counted only once.
  * @retval None
  */
void parse_start_command(char *cmd)
{
    // Reset the current channel selection before parsing the new command.
    memset(channel_mask, 0, sizeof(channel_mask));
    num_active_channels = 0;

    char *p = strchr(cmd, ',');
    if (!p)
    {
        // Plain "start": stream every channel.
        enable_all_channels();
        return;
    }

    p++; // Move after "start," to the first channel token.

    while (*p && num_active_channels < MAX_SELECTED_CHANNELS)
    {
        int a = 0, b = 0;

        if (sscanf(p, "%d-%d", &a, &b) == 2)
        {
            if (a < 1) a = 1;
            if (b > NUM_CHANNELS) b = NUM_CHANNELS;

            for (int i = a; i <= b; i++)
            {
                if (!channel_mask[i-1])
                {
                    channel_mask[i-1] = 1;
                    num_active_channels++;
                }
            }
        }
        else if (sscanf(p, "%d", &a) == 1)
        {
            if (a >= 1 && a <= NUM_CHANNELS && !channel_mask[a-1])
            {
                channel_mask[a-1] = 1;
                num_active_channels++;
            }
        }

        // Move to the next comma-separated token, if present.
        p = strchr(p, ',');
        if (!p) break;
        p++;
    }
}

/**
  * @brief Enable every acquisition channel in channel_mask[].
  * @retval None
  */
static void enable_all_channels(void)
{
    for (int i = 0; i < NUM_CHANNELS; i++)
        channel_mask[i] = 1;

    num_active_channels = NUM_CHANNELS;
}

/* USER CODE END 4 */

 /* MPU Configuration */

void MPU_Config(void)
{
  MPU_Region_InitTypeDef MPU_InitStruct = {0};

  /* Disables the MPU */
  HAL_MPU_Disable();

  /** Initializes and configures the Region and the memory to be protected
  */
  MPU_InitStruct.Enable = MPU_REGION_ENABLE;
  MPU_InitStruct.Number = MPU_REGION_NUMBER0;
  MPU_InitStruct.BaseAddress = 0x0;
  MPU_InitStruct.Size = MPU_REGION_SIZE_4GB;
  MPU_InitStruct.SubRegionDisable = 0x87;
  MPU_InitStruct.TypeExtField = MPU_TEX_LEVEL0;
  MPU_InitStruct.AccessPermission = MPU_REGION_NO_ACCESS;
  MPU_InitStruct.DisableExec = MPU_INSTRUCTION_ACCESS_DISABLE;
  MPU_InitStruct.IsShareable = MPU_ACCESS_SHAREABLE;
  MPU_InitStruct.IsCacheable = MPU_ACCESS_NOT_CACHEABLE;
  MPU_InitStruct.IsBufferable = MPU_ACCESS_NOT_BUFFERABLE;

  HAL_MPU_ConfigRegion(&MPU_InitStruct);
  /* Enables the MPU */
  HAL_MPU_Enable(MPU_PRIVILEGED_DEFAULT);

}

void Error_Handler(void)
{
  __disable_irq();
  while (1)
  {
  }
}
